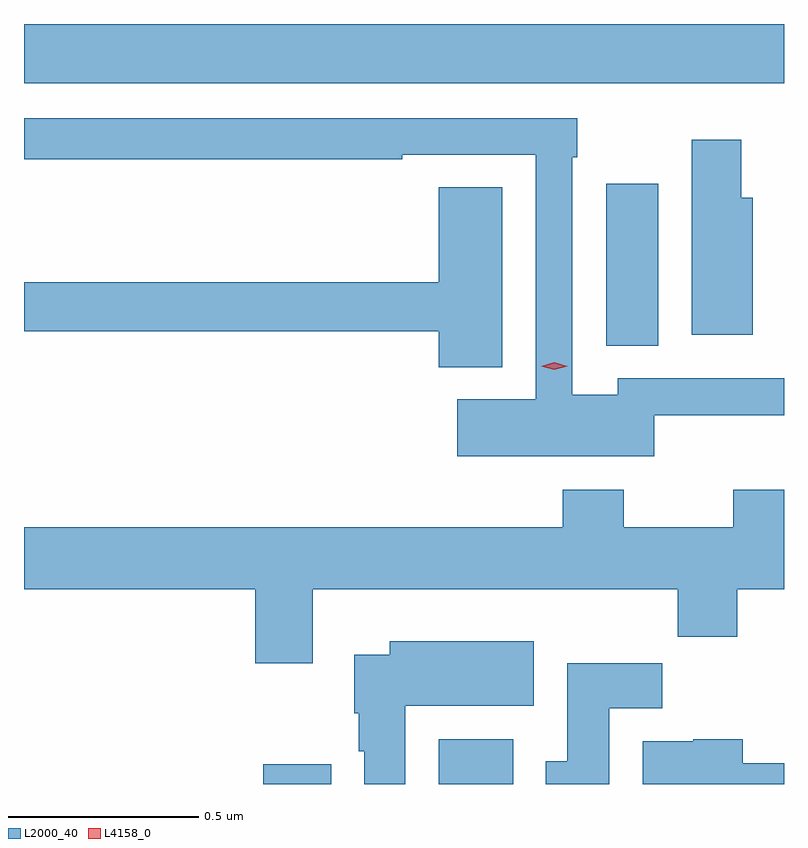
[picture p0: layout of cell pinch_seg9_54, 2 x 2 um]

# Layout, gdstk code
import gdstk
lib = gdstk.Library(unit=1e-6, precision=1e-09)
def R(c, l, rs):  # rectangles x0, y0, x1, y1
    for r in rs: c.add(gdstk.rectangle(r[:2], r[2:], *l))
def P(c, l, *ps):  # polygons
    for p in ps: c.add(gdstk.Polygon(p, *l))
L2000_40 = (2000, 40)
L4158_0 = (4158, 0)

pinch_seg9_54 = lib.new_cell('pinch_seg9_54')
R(pinch_seg9_54, L2000_40, [(913.706,1181.256,913.885,1181.308), (914.168,1181.256,914.365,1181.374), (914.609,1182.409,914.746,1182.835), (913.077,1183.1,915.077,1183.256)])
P(pinch_seg9_54, L2000_40, [(914.736,1182.227),(915.077,1182.227),(915.077,1182.324),(914.64,1182.324),(914.64,1182.28),(914.52,1182.28),(914.52,1182.905),(914.533,1182.905),(914.533,1183.008),(913.077,1183.008),(913.077,1182.9),(914.072,1182.9),(914.072,1182.912),(914.424,1182.912),(914.424,1182.268),(914.217,1182.268),(914.217,1182.119),(914.736,1182.119)],
  [(914.995,1182.799),(914.964,1182.799),(914.964,1182.952),(914.834,1182.952),(914.834,1182.438),(914.995,1182.438)],
  [(914.335,1182.827),(914.168,1182.827),(914.168,1182.577),(913.077,1182.577),(913.077,1182.448),(914.168,1182.448),(914.168,1182.353),(914.335,1182.353)],
  [(913.837,1181.768),(914.797,1181.768),(914.797,1181.644),(914.954,1181.644),(914.954,1181.768),(915.077,1181.768),(915.077,1182.031),(914.944,1182.031),(914.944,1181.932),(914.655,1181.932),(914.655,1182.031),(914.495,1182.031),(914.495,1181.932),(913.077,1181.932),(913.077,1181.768),(913.685,1181.768),(913.685,1181.574),(913.837,1181.574)],
  [(914.08,1181.462),(914.419,1181.462),(914.419,1181.632),(914.039,1181.632),(914.039,1181.596),(913.946,1181.596),(913.946,1181.442),(913.958,1181.442),(913.958,1181.342),(913.973,1181.342),(913.973,1181.256),(914.08,1181.256)],
  [(914.617,1181.456),(914.756,1181.456),(914.756,1181.574),(914.507,1181.574),(914.507,1181.316),(914.45,1181.316),(914.45,1181.256),(914.617,1181.256)],
  [(915.077,1181.31),(914.969,1181.31),(914.969,1181.374),(914.838,1181.374),(914.838,1181.368),(914.705,1181.368),(914.705,1181.256),(915.077,1181.256)])
P(pinch_seg9_54, L4158_0, [(914.473,1182.346),(914.438,1182.355),(914.438,1182.356),(914.438,1182.356),(914.473,1182.366),(914.507,1182.356),(914.508,1182.356),(914.507,1182.355)])

lib.write_gds('pinch_seg9_54.gds')
